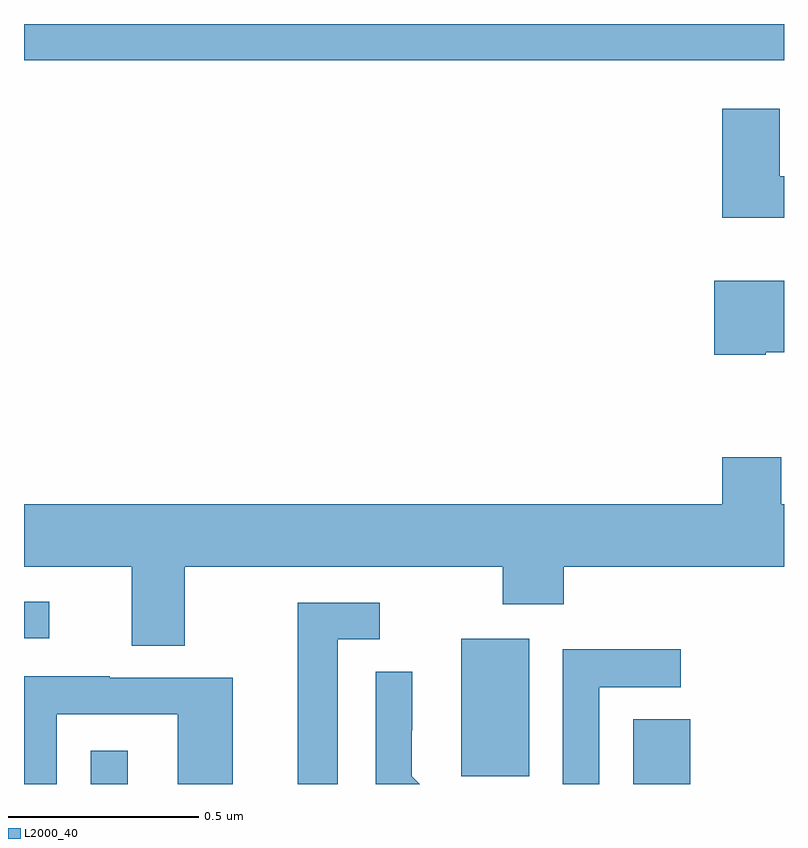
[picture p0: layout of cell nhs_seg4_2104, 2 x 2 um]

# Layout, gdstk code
import gdstk
lib = gdstk.Library(unit=1e-6, precision=1e-09)
def R(c, l, rs):  # rectangles x0, y0, x1, y1
    for r in rs: c.add(gdstk.rectangle(r[:2], r[2:], *l))
def P(c, l, *ps):  # polygons
    for p in ps: c.add(gdstk.Polygon(p, *l))
L2000_40 = (2000, 40)

nhs_seg4_2104 = lib.new_cell('nhs_seg4_2104')
R(nhs_seg4_2104, L2000_40, [(136.176,810.9,136.273,810.988), (137.603,810.9,137.753,811.07), (137.15,810.921,137.329,811.282), (136,811.284,136.066,811.38), (136,812.804,138,812.9)])
P(nhs_seg4_2104, L2000_40, [(138,812.5),(137.989,812.5),(137.989,812.677),(137.837,812.677),(137.837,812.39),(138,812.39)],
  [(137.952,812.036),(138,812.036),(138,812.224),(137.816,812.224),(137.816,812.03),(137.952,812.03)],
  [(136.423,811.472),(137.26,811.472),(137.26,811.373),(137.42,811.373),(137.42,811.472),(138,811.472),(138,811.636),(137.993,811.636),(137.993,811.76),(137.837,811.76),(137.837,811.636),(136,811.636),(136,811.472),(136.283,811.472),(136.283,811.264),(136.423,811.264)],
  [(136.825,811.281),(136.936,811.281),(136.936,811.377),(136.721,811.377),(136.721,810.9),(136.825,810.9)],
  [(137.514,811.155),(137.728,811.155),(137.728,811.254),(137.418,811.254),(137.418,810.9),(137.514,810.9)],
  [(137.021,810.92),(137.021,811.042),(137.022,811.042),(137.022,811.196),(136.926,811.196),(136.926,810.9),(137.041,810.9)],
  [(136.086,811.083),(136.404,811.083),(136.404,810.9),(136.549,810.9),(136.549,811.179),(136.225,811.179),(136.225,811.183),(136,811.183),(136,810.9),(136.086,810.9)])

lib.write_gds('nhs_seg4_2104.gds')
